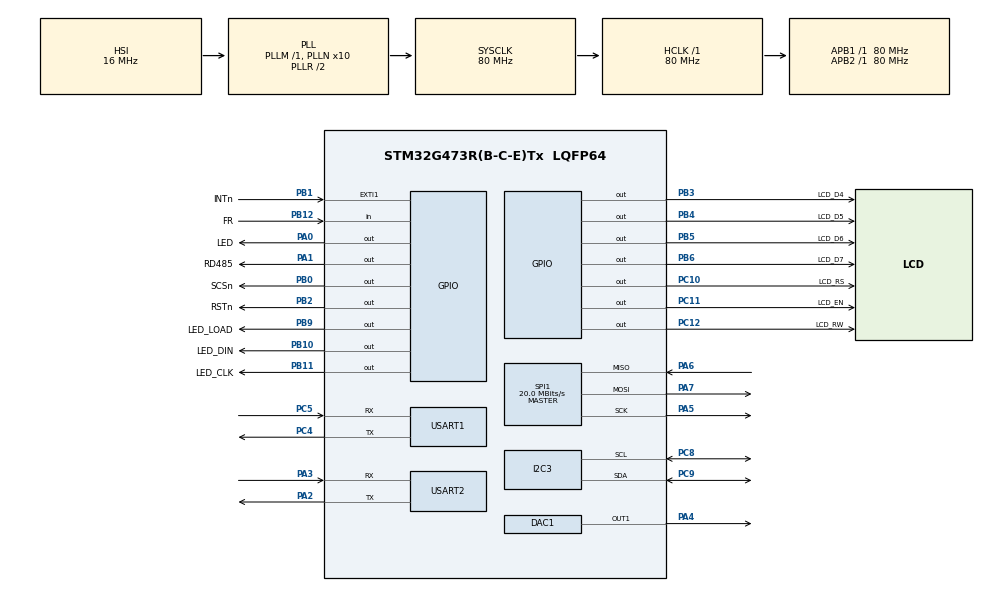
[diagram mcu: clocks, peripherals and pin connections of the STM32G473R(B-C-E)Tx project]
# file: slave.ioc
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Mcu.Family=STM32G4
PA6.Mode=Full_Duplex_Master
RCC.CortexFreq_Value=80000000
Dma.DAC1_CH1.0.Priority=DMA_PRIORITY_HIGH
SPI1.VirtualType=VM_MASTER
PC10.Signal=GPIO_Output
PC12.Signal=GPIO_Output
USART1.WordLength=WORDLENGTH_7B
PA0.GPIO_Label=LED
DAC1.DAC_Trigger_OUT1-DAC_OUT1=DAC_TRIGGER_T2_TRGO
PB0.GPIO_Label=SCSn
PB6.GPIO_Label=LCD_D7
PC5.Mode=Asynchronous
PB11.Signal=GPIO_Output
RCC.SYSCLKSource=RCC_SYSCLKSOURCE_PLLCLK
ProjectManager.StackSize=0x400
NVIC.EXTI1_IRQn=true\:0\:0\:false\:false\:true\:true\:true
TIM1.Prescaler=79
SPI1.CLKPolarity=SPI_POLARITY_HIGH
NVIC.TIM20_UP_IRQn=true\:0\:0\:false\:false\:true\:true\:true
Dma.DAC1_CH1.0.SyncPolarity=HAL_DMAMUX_SYNC_NO_EVENT
SPI1.Direction=SPI_DIRECTION_2LINES
PB1.GPIO_PuPd=GPIO_PULLUP
RCC.HCLKFreq_Value=80000000
Dma.DAC1_CH1.0.EventEnable=DISABLE
RCC.APB2TimFreq_Value=80000000
PB6.Signal=GPIO_Output
PB1.GPIO_ModeDefaultEXTI=GPIO_MODE_IT_FALLING
SPI1.CalculateBaudRate=20.0 MBits/s
RCC.AHBFreq_Value=80000000
RCC.HSE_VALUE=8000000
TIM20.AutoReloadPreload=TIM_AUTORELOAD_PRELOAD_ENABLE
PB2.Signal=GPIO_Output
Dma.DAC1_CH1.0.SignalID=NONE
USART2.VirtualMode-Asynchronous=VM_ASYNC
RCC.ADC12Freq_Value=80000000
PB12.GPIO_Label=FR
TIM2.PeriodNoDither=624
PA14.Mode=Serial_Wire
TIM3.Prescaler=80-1
PB1.GPIO_Label=INTn
Dma.DAC1_CH1.0.Mode=DMA_CIRCULAR
PC11.GPIO_Label=LCD_EN
SPI1.DataSize=SPI_DATASIZE_8BIT
PC9.Mode=I2C
VP_SYS_VS_DBSignals.Mode=DisableDeadBatterySignals
VP_TIM1_VS_ClockSourceINT.Mode=Internal
PA0.Signal=GPIO_Output
VP_TIM20_VS_ClockSourceINT.Mode=Internal
Mcu.Package=LQFP64
PB9.Signal=GPIO_Output
PB1.Signal=GPXTI1
PA6.Signal=SPI1_MISO
TIM3.PeriodNoDither=1000-1
Dma.DAC1_CH1.0.Instance=DMA1_Channel1
USART2.WordLength=WORDLENGTH_7B
TIM2.TIM_MasterOutputTrigger=TIM_TRGO_UPDATE
I2C3.Timing=0x10909CEC
PB5.GPIO_Label=LCD_D6
RCC.APB1TimFreq_Value=80000000
PC5.Signal=USART1_RX
NVIC.USART1_IRQn=true\:0\:0\:false\:false\:true\:true\:true
PF1-OSC_OUT.Mode=HSE-External-Oscillator
Dma.Request0=DAC1_CH1
SPI1.BaudRatePrescaler=SPI_BAUDRATEPRESCALER_4
VP_TIM3_VS_ClockSourceINT.Mode=Internal
Dma.DAC1_CH1.0.PeriphInc=DMA_PINC_DISABLE
PF1-OSC_OUT.Signal=RCC_OSC_OUT
PC4.Mode=Asynchronous
RCC.HSI48_VALUE=48000000
PB4.Signal=GPIO_Output
PA3.Signal=USART2_RX
PA5.Mode=Full_Duplex_Master
PB3.GPIO_Label=LCD_D4
PA7.Mode=Full_Duplex_Master
PB9.GPIO_Label=LED_LOAD
PC10.GPIO_Label=LCD_RS
TIM3.AutoReloadPreload=TIM_AUTORELOAD_PRELOAD_ENABLE
PC11.Signal=GPIO_Output
PC8.Signal=I2C3_SCL
PC4.Signal=USART1_TX
PB11.GPIO_Label=LED_CLK
RCC.EXTERNAL_CLOCK_VALUE=12288000
SPI1.CLKPhase=SPI_PHASE_2EDGE
USART1.VirtualMode-Asynchronous=VM_ASYNC
PA3.Mode=Asynchronous
PA13.Signal=SYS_JTMS-SWDIO
TIM1.AutoReloadPreload=TIM_AUTORELOAD_PRELOAD_ENABLE
ProjectManager.TargetToolchain=MDK-ARM V5
PB10.GPIO_Label=LED_DIN
SH.COMP_DAC11_group.0=DAC1_OUT1,DAC_OUT1
RCC.USBFreq_Value=80000000
RCC.LSE_VALUE=32768
PA1.Signal=GPIO_Output
PF0-OSC_IN.Mode=HSE-External-Oscillator
PB10.Signal=GPIO_Output
PA5.Signal=SPI1_SCK
Dma.DAC1_CH1.0.MemDataAlignment=DMA_MDATAALIGN_WORD
board=custom
RCC.VCOOutputFreq_Value=160000000
NVIC.TIM3_IRQn=true\:0\:0\:false\:false\:true\:true\:true
RCC.ADC345Freq_Value=80000000
RCC.APB2Freq_Value=80000000
SPI1.CRCCalculation=SPI_CRCCALCULATION_DISABLE
PB4.GPIO_Label=LCD_D5
SH.S_TIM1_CH2.0=TIM1_CH2
VP_TIM2_VS_ClockSourceINT.Mode=Internal
SPI1.Mode=SPI_MODE_MASTER
PA1.GPIO_Label=RD485
Dma.DAC1_CH1.0.PeriphDataAlignment=DMA_PDATAALIGN_WORD
Dma.DAC1_CH1.0.MemInc=DMA_MINC_ENABLE
PA13.Mode=Serial_Wire
Mcu.Name=STM32G473R(B-C-E)Tx
Dma.DAC1_CH1.0.SyncEnable=DISABLE
PA2.Signal=USART2_TX
PC8.Mode=I2C
PB3.Signal=GPIO_Output
PA4.Signal=COMP_DAC11_group
RCC.SYSCLKFreq_VALUE=80000000
TIM20.Prescaler=79
PB5.Signal=GPIO_Output
PC12.GPIO_Label=LCD_RW
PA14.Signal=SYS_JTCK-SWCLK
PB2.GPIO_Label=RSTn
ProjectManager.HeapSize=0x200
RCC.HSI_VALUE=16000000
NVIC.TIM1_UP_TIM16_IRQn=true\:0\:0\:false\:false\:true\:true\:true
NVIC.PriorityGroup=NVIC_PRIORITYGROUP_4
RCC.PLLN=10
PA2.Mode=Asynchronous
Dma.DAC1_CH1.0.SyncRequestNumber=1
PC9.Signal=I2C3_SDA
NVIC.DMA1_Channel1_IRQn=true\:0\:0\:false\:false\:true\:false\:true
PF0-OSC_IN.Signal=RCC_OSC_IN
Dma.DAC1_CH1.0.SyncSignalID=NONE
TIM3.TIM_MasterOutputTrigger=TIM_TRGO_RESET
PB12.GPIO_PuPd=GPIO_PULLUP
RCC.APB1Freq_Value=80000000
PB0.Signal=GPIO_Output
PC1.Signal=S_TIM1_CH2
Dma.DAC1_CH1.0.Direction=DMA_MEMORY_TO_PERIPH
PB12.Signal=GPIO_Input
Dma.DAC1_CH1.0.Polarity=HAL_DMAMUX_REQ_GEN_RISING
TIM1.PeriodNoDither=999
TIM20.PeriodNoDither=999
PA7.Signal=SPI1_MOSI
Dma.DAC1_CH1.0.RequestNumber=1

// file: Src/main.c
/* USER CODE BEGIN Header */
/**
  ******************************************************************************
  * @file           : main.c
  * @brief          : Main program body
  ******************************************************************************
  * @attention
  *
  * <h2><center>&copy; Copyright (c) 2020 STMicroelectronics.
  * All rights reserved.</center></h2>
  *
  * This software component is licensed by ST under BSD 3-Clause license,
  * the "License"; You may not use this file except in compliance with the
  * License. You may obtain a copy of the License at:
  *                        opensource.org/licenses/BSD-3-Clause
  *
  ******************************************************************************
  */
/* USER CODE END Header */
#include "main.h"

/* USER CODE BEGIN Includes */
#include "stdio.h"
#include "wizchip_conf.h"
#include "irigb.h"
#include "lcd.h"
#include "storevalue.h"
#include <string.h>
/* USER CODE END Includes */

/* USER CODE BEGIN PM */
uint32_t	_loop1=0;
#define NS  128
uint32_t Wave_LUT[NS] = {
    2048, 2149, 2250, 2350, 2450, 2549, 2646, 2742, 2837, 2929, 3020, 3108, 3193, 3275, 3355,
    3431, 3504, 3574, 3639, 3701, 3759, 3812, 3861, 3906, 3946, 3982, 4013, 4039, 4060, 4076,
    4087, 4094, 4095, 4091, 4082, 4069, 4050, 4026, 3998, 3965, 3927, 3884, 3837, 3786, 3730,
    3671, 3607, 3539, 3468, 3394, 3316, 3235, 3151, 3064, 2975, 2883, 2790, 2695, 2598, 2500,
    2400, 2300, 2199, 2098, 1997, 1896, 1795, 1695, 1595, 1497, 1400, 1305, 1212, 1120, 1031,
    944, 860, 779, 701, 627, 556, 488, 424, 365, 309, 258, 211, 168, 130, 97,
    69, 45, 26, 13, 4, 0, 1, 8, 19, 35, 56, 82, 113, 149, 189,
    234, 283, 336, 394, 456, 521, 591, 664, 740, 820, 902, 987, 1075, 1166, 1258,
    1353, 1449, 1546, 1645, 1745, 1845, 1946, 2047
};

/* USER CODE END PM */

DAC_HandleTypeDef hdac1;
DMA_HandleTypeDef hdma_dac1_ch1;

I2C_HandleTypeDef hi2c3;

SPI_HandleTypeDef hspi1;

TIM_HandleTypeDef htim1;
TIM_HandleTypeDef htim2;
TIM_HandleTypeDef htim3;
TIM_HandleTypeDef htim20;

UART_HandleTypeDef huart1;
UART_HandleTypeDef huart2;

/* USER CODE BEGIN PV */
uint8_t u1Timeout=0;
uint32_t tim20ct=0;
/* Size of Reception buffer */
#define RXBUFFERSIZE                      10
/* Buffer used for reception */
uint8_t aRxBuffer[RXBUFFERSIZE];

wiz_NetInfo gWIZNETINFO = { .mac = {0x01, 0x08, 0xDC,0x4F, 0xEB, 0x6E},
                            .ip = {192, 168, 22, 163},
                            .sn = {255,255,255,1},
                            .gw = {192, 168, 22, 252},
                            .dns = {8,8,8,8},
                            .dhcp = NETINFO_STATIC };
/* USER CODE END PV */

void SystemClock_Config(void);
static void MX_GPIO_Init(void);
static void MX_DMA_Init(void);
static void MX_DAC1_Init(void);
static void MX_SPI1_Init(void);
static void MX_TIM1_Init(void);
static void MX_USART1_UART_Init(void);
static void MX_USART2_UART_Init(void);
static void MX_TIM2_Init(void);
static void MX_I2C3_Init(void);
static void MX_TIM20_Init(void);
static void MX_TIM3_Init(void);
/* USER CODE BEGIN PFP */
static void  wizchip_select(void)
{
	//GPIO_ResetBits(W5500_CS_GPIO_PORT, W5500_CS_PIN);
	HAL_GPIO_WritePin(SCSn_GPIO_Port, SCSn_Pin, GPIO_PIN_RESET);
}
static void  wizchip_deselect(void)
{
	//GPIO_SetBits(W5500_CS_GPIO_PORT, W5500_CS_PIN);
	uint8_t temp=0xff;
	HAL_GPIO_WritePin(SCSn_GPIO_Port, SCSn_Pin, GPIO_PIN_SET);
	HAL_SPI_Transmit(&hspi1,&temp,1,100);
	//stm32_spi_rw(0xFF);
}
static uint8_t wizchip_read(void)
{
	uint8_t temp;
	//while (  SPI_I2S_GetFlagStatus(SPI2 , SPI_I2S_FLAG_TXE) == RESET );
	//SPI_I2S_SendData(SPI2 , 0xff);     // Dummy write to generate clock
	//while (  SPI_I2S_GetFlagStatus(SPI2 , SPI_I2S_FLAG_RXNE) == RESET );
	//return (unsigned char)SPI_I2S_ReceiveData(SPI2);

	HAL_SPI_Receive(&hspi1,&temp,1,100);
	return temp;
}
static void  wizchip_write(uint8_t wb)
{
	//while (  SPI_I2S_GetFlagStatus(SPI2 , SPI_I2S_FLAG_TXE) == RESET );  // sending data Wait
	//SPI_I2S_SendData(SPI2 , wb);
	//while (  SPI_I2S_GetFlagStatus(SPI2 , SPI_I2S_FLAG_RXNE) == RESET ); // Wait for data
	//wb = SPI_I2S_ReceiveData(SPI2);        // Dummy read to generate clock
	HAL_SPI_Transmit(&hspi1,&wb,1,100);
}
static void wizchip_readburst(uint8_t* pBuf, uint16_t len)
{
	//stm32_wizchip_dma_transfer(1, pBuf, len);  //FALSE(0) for buff->SPI, TRUE(1) for SPI->buff
	HAL_SPI_Receive(&hspi1,pBuf,len,100);
}

static void  wizchip_writeburst(uint8_t* pBuf, uint16_t len)
{
	//stm32_wizchip_dma_transfer(0, pBuf, len);  //FALSE(0) for buff->SPI, TRUE(1) for SPI->buff
	HAL_SPI_Transmit(&hspi1,pBuf,len,100);
}

void Display_Net_Conf()
{
	uint8_t tmpstr[6] = {0,};
	wiz_NetInfo gWIZNETINFO;

	ctlnetwork(CN_GET_NETINFO, (void*) &gWIZNETINFO);
	ctlwizchip(CW_GET_ID,(void*)tmpstr);

	// Display Network Information
	if(gWIZNETINFO.dhcp == NETINFO_DHCP) printf("\r\n===== %s NET CONF : DHCP =====\r\n",(char*)tmpstr);
		else printf("\r\n===== %s NET CONF : Static =====\r\n",(char*)tmpstr);

	printf("\r\nMAC: %02X:%02X:%02X:%02X:%02X:%02X\r\n", gWIZNETINFO.mac[0], gWIZNETINFO.mac[1], gWIZNETINFO.mac[2], gWIZNETINFO.mac[3], gWIZNETINFO.mac[4], gWIZNETINFO.mac[5]);
	printf("IP: %d.%d.%d.%d\r\n", gWIZNETINFO.ip[0], gWIZNETINFO.ip[1], gWIZNETINFO.ip[2], gWIZNETINFO.ip[3]);
	printf("GW: %d.%d.%d.%d\r\n", gWIZNETINFO.gw[0], gWIZNETINFO.gw[1], gWIZNETINFO.gw[2], gWIZNETINFO.gw[3]);
	printf("SN: %d.%d.%d.%d\r\n", gWIZNETINFO.sn[0], gWIZNETINFO.sn[1], gWIZNETINFO.sn[2], gWIZNETINFO.sn[3]);
	printf("DNS: %d.%d.%d.%d\r\n", gWIZNETINFO.dns[0], gWIZNETINFO.dns[1], gWIZNETINFO.dns[2], gWIZNETINFO.dns[3]);

	//printf("\r\n=== DNS Client Example ===============\r\n");
  //printf("> DNS 1st : %d.%d.%d.%d\r\n", gWIZNETINFO.dns[0], gWIZNETINFO.dns[1], gWIZNETINFO.dns[2], gWIZNETINFO.dns[3]);
  //printf("> DNS 2nd : %d.%d.%d.%d\r\n", DNS_2nd[0], DNS_2nd[1], DNS_2nd[2], DNS_2nd[3]);
  //printf("======================================\r\n");
   //printf("> Example Domain Name : %s\r\n", Domain_name);
}

void Net_Conf(wiz_NetInfo netinfo)
{
	/*
	wiz_NetInfo gWIZNETINFO = {
		{ 0x00, 0x08, 0xDC, 0x44, 0x55, 0x66 },				// Mac address
		{ 192, 168, 1, 91 },								// IP address
		{ 255, 255, 255, 0},								// Subnet mask
		{ 192, 168, 1, 1},									// Gateway
		{ 8, 8, 8, 8},										// DNS Server
	};
	*/
	ctlnetwork(CN_SET_NETINFO, (void*) &netinfo);

	Display_Net_Conf();
}
void w5500_lib_init(void){

		uint8_t tmp;
		intr_kind temp;
		uint8_t memsize[2][8] = {{2,2,2,2,2,2,2,2},{2,2,2,2,2,2,2,2}};

		//printf("w5500_lib_init...1");
		//GPIO_ResetBits(W5500_RST_GPIO, W5500_RST);
		HAL_GPIO_WritePin(RSTn_GPIO_Port, RSTn_Pin, GPIO_PIN_RESET);
		HAL_Delay(100);

		//////////
   // TODO //
   ////////////////////////////////////////////////////////////////////////////////////////////////////
   // First of all, Should register SPI callback functions implemented by user for accessing WIZCHIP //
   ////////////////////////////////////////////////////////////////////////////////////////////////////

		/* Critical section callback - No use in this example */
		//reg_wizchip_cris_cbfunc(0, 0);

    /* Chip selection call back */
		reg_wizchip_cs_cbfunc(wizchip_select, wizchip_deselect);
		/* SPI Read & Write callback function */
    reg_wizchip_spi_cbfunc(wizchip_read, wizchip_write);
		reg_wizchip_spiburst_cbfunc(wizchip_readburst, wizchip_writeburst);
		//GPIO_SetBits(W5500_RST_GPIO, W5500_RST);//RST High to run
		HAL_GPIO_WritePin(RSTn_GPIO_Port, RSTn_Pin, GPIO_PIN_SET);
		HAL_Delay(100);
		//printf("...2");
    ////////////////////////////////////////////////////////////////////////
		/* WIZCHIP SOCKET Buffer initialize */
		//Initializes to WIZCHIP with SOCKET buffer size 2 or 1 dimension array typed uint8_t
    if(ctlwizchip(CW_INIT_WIZCHIP,(void*)memsize) == -1)
    {
       printf("WIZCHIP Initialized fail.\r\n");
       //while(1);
    }

		//printf("...get PHY Link status");
		/* PHY link status check */

		do
    {
       if(ctlwizchip(CW_GET_PHYLINK, (void*)&tmp) == -1)
          ;//printf("Unknown PHY Link stauts.\r\n");
    }while(tmp == PHY_LINK_OFF);
		//printf("...4");
		//Cau hinh ngat tren S0
		temp = IK_SOCK_0;
		if(ctlwizchip(CW_SET_INTRMASK, &temp) == WZN_ERR)
		{
			printf("Cannot set imr...\r\n");
		}
		//printf("...all ok\r\n");
		Net_Conf(gWIZNETINFO);

}

//----------------------Phan giao tiep i2c-thoi gian thuc ---------------------//
unsigned char i2c_write[1];
char time[7],giaycu,ngay_al,thang_al,nhietdo,nhietdole;
unsigned char i2c_rv[19];
void BCD_Decoder()
{
	//printf("i2c_rv[3]: %d",i2c_rv[3]);
	for(char x=0;x<7;x++) time[x]=(i2c_rv[x] & 0x0f) + (i2c_rv[x]>>4)*10;
	//time[3] --;
}
unsigned char BCD_Encoder(unsigned char temp)
{
	return ((temp/10)<<4)|(temp%10);
}
void laythoigian()
{
	HAL_I2C_Mem_Read(&hi2c3,0x68<<1,0,I2C_MEMADD_SIZE_8BIT,i2c_rv,19,1000); //read time
	BCD_Decoder(); //chuyen doi
	nhietdo = i2c_rv[17];
	nhietdole = i2c_rv[18]>>6;
	if(nhietdole == 1) nhietdole = 25;
	else if(nhietdole == 2) nhietdole = 5;
	else if(nhietdole == 3) nhietdole = 75;
	else nhietdole = 0;
}
void ghids(unsigned char add, unsigned char dat)
{
	i2c_write[0] = BCD_Encoder(dat);
	HAL_I2C_Mem_Write(&hi2c3,0x68<<1,add,I2C_MEMADD_SIZE_8BIT,i2c_write,1,1000);
}

static uint32_t GetPage(uint32_t Address);
static uint32_t GetBank(uint32_t Address);
static void storeValue(void);
static void loadValue(void);

void MAX7219_SendByte (unsigned char dat)
{
unsigned char i;
for (i=0;i<8;i++)
{
if((dat&0x80)==0x80) HAL_GPIO_WritePin(LED_DIN_GPIO_Port, LED_DIN_Pin, GPIO_PIN_SET);//GPIO_SetBits(GPIOA, MAX7219_DIN);
else HAL_GPIO_WritePin(LED_DIN_GPIO_Port, LED_DIN_Pin, GPIO_PIN_RESET);//GPIO_ResetBits(GPIOA, MAX7219_DIN);

HAL_GPIO_WritePin(LED_CLK_GPIO_Port, LED_CLK_Pin, GPIO_PIN_RESET);//GPIO_ResetBits(GPIOA, MAX7219_CLK);
//HAL_Delay(1);
HAL_GPIO_WritePin(LED_CLK_GPIO_Port, LED_CLK_Pin, GPIO_PIN_SET);//GPIO_SetBits(GPIOA, MAX7219_CLK);
dat<<=1;
}
}

void MAX7219_SendAddrDat (unsigned char addr,unsigned char dat)
{
HAL_GPIO_WritePin(LED_LOAD_GPIO_Port, LED_LOAD_Pin, GPIO_PIN_RESET);//GPIO_ResetBits(GPIOA, MAX7219_CS);
MAX7219_SendByte (addr);
MAX7219_SendByte (dat);
HAL_GPIO_WritePin(LED_LOAD_GPIO_Port, LED_LOAD_Pin, GPIO_PIN_SET);//GPIO_SetBits(GPIOA, MAX7219_CS);
}

void MAX7219_Init (void)
{
MAX7219_SendAddrDat (0x0c,0x01); //normal operation
MAX7219_SendAddrDat (0x0a,0x01); //intensity
MAX7219_SendAddrDat (0x0b,0x07); //all digits on
MAX7219_SendAddrDat (0x09,0x00); //decoding
MAX7219_SendAddrDat (0x0f,0x00); //display test off
}
void MAX7219_Clear(void)
{
unsigned char i;
	for(i=8;i>0;i--)
	MAX7219_SendAddrDat(i,0x00);
}
unsigned char const LEDcode[]=
{
0x7e,0x30,0x6d,0x79,0x33,0x5b,0x5f,0x70,0x7f,0x7b, //0..9
0x77,0x1f,0x4e,0x3d,0x4f,0x47,0x67,0x3e,0xff //a..f,P,U,all_on
};
void MAX7219_DisplayInt (long int val)
{
long int a;
a=val;
	MAX7219_SendAddrDat(0x08,LEDcode[1]);
//MAX7219_SendAddrDat(0x08,LEDcode[(a/10000000)]);
a=a%10000000;
	MAX7219_SendAddrDat(0x07,0x03);
a=a%1000000;
MAX7219_SendAddrDat(0x06,LEDcode[9]);
a=a%100000;
MAX7219_SendAddrDat(0x05,LEDcode[8]);
a=a%10000;
MAX7219_SendAddrDat(0x04,LEDcode[(a/1000)]);
a=a%1000;
MAX7219_SendAddrDat(0x03,LEDcode[(a/100)]);
a=a%100;
MAX7219_SendAddrDat(0x02,LEDcode[(a/10)]);
a=a%10;
MAX7219_SendAddrDat(0x01,LEDcode[a]);
}
/* USER CODE END PFP */

int main(void)
{
  /* USER CODE BEGIN 1 */
uint8_t u2data[100];
int a=0;
  /* USER CODE END 1 */

  /* MCU Configuration--------------------------------------------------------*/

  /* Reset of all peripherals, Initializes the Flash interface and the Systick. */
  HAL_Init();

  /* Configure the system clock */
  SystemClock_Config();

  /* Initialize all configured peripherals */
  MX_GPIO_Init();
  MX_DMA_Init();
  MX_DAC1_Init();
  MX_SPI1_Init();
  MX_TIM1_Init();
  MX_USART1_UART_Init();
  MX_USART2_UART_Init();
  MX_TIM2_Init();
  MX_I2C3_Init();
  MX_TIM20_Init();
  MX_TIM3_Init();
  /* USER CODE BEGIN 2 */
	/*
	laythoigian();
	ghids(0,0);
	ghids(1,41);
	ghids(2,10);
	ghids(3,6);
	ghids(4,15);
	ghids(5,10);
	ghids(6,21);*/

	LCD_Init();
	LCD_Clear();
	LCD_Gotoxy(0,0);
	LCD_Puts("Nguon ok! Dong ho Ok!");
	LCD_Gotoxy(1,0);
	LCD_Puts("GPS: ok.");
	lcdprintf("IP: %s","192.168.22.153");
	HAL_GPIO_WritePin(GPIOA, LED_Pin, GPIO_PIN_SET);
	HAL_GPIO_WritePin(RD485_GPIO_Port, RD485_Pin, GPIO_PIN_SET);
	HAL_Delay(100);
	//115200 7b 1s n
	printf("This code gen by STMcube STM32G473RBT 80MHz\r\n");
	//HAL_UART_Transmit(&huart1, (uint8_t *)&ch, 1, 100);
	HAL_UART_Transmit(&huart2, (uint8_t *)"UART2 TX ok\r\n", 13, 100);

	//w5500_lib_init();
	HAL_DAC_Start(&hdac1, DAC_CHANNEL_1);
	HAL_DAC_Start_DMA(&hdac1, DAC_CHANNEL_1, (uint32_t*)_Bit0, 1280, DAC_ALIGN_12B_R);
	//hdma_dac1_ch1.Instance->CMAR = (uint32_t)_Bit0;
  HAL_TIM_Base_Start(&htim2);
	HAL_TIM_Base_Start_IT(&htim3);

	//HAL_DAC_Start(&hdac1, DAC_CHANNEL_1);
	//HAL_DAC_SetValue(&hdac1, DAC_CHANNEL_1,DAC_ALIGN_12B_R,4000);
	printf("Run\r\n");
	MAX7219_Init();
	//MAX7219_DisplayInt(1234567);

	MAX7219_SendAddrDat(0x01,LEDcode[0]);
	MAX7219_SendAddrDat(0x02,LEDcode[1]);
	MAX7219_SendAddrDat(0x03,LEDcode[2]);
	MAX7219_SendAddrDat(0x04,LEDcode[3]);
	MAX7219_SendAddrDat(0x05,LEDcode[4]);
	MAX7219_SendAddrDat(0x06,0x06);
	MAX7219_SendAddrDat(0x07,0x05);
	MAX7219_SendAddrDat(0x08,0x00);

	//storeValue();
	//loadValue();

	HAL_GPIO_WritePin(RD485_GPIO_Port, RD485_Pin, GPIO_PIN_RESET);
	//MX_IWDG_Init();
  /* USER CODE END 2 */

  /* Infinite loop */
  /* USER CODE BEGIN WHILE */
	  /*##-2- Put UART peripheral in reception process ###########################*/
  /* Any data received will be stored in "aRxBuffer" buffer : the number max of
     data received is 10
		 Du lieu nhan dc se tu dong luu vao aRxBuffer
		 */
  if (HAL_UART_Receive_IT(&huart1, (uint8_t *)aRxBuffer, RXBUFFERSIZE) != HAL_OK)
  {
    /* Transfer error in reception process */
    Error_Handler();
  }

	//htim20.Instance->CNT =0;
  while (1)
  {
    //HAL_IWDG_Refresh(&hiwdg);
		//HAL_UART_Receive(&huart2, u2data,20,100);
		//printf("u2data:%s\r\n",u2data);
		//HAL_Delay(100);
		//HAL_GPIO_WritePin(GPIOA, GPIO_PIN_0, 0);
		//HAL_DAC_SetValue(&hdac1, DAC_CHANNEL_1,DAC_ALIGN_12B_R,4000);
    //HAL_Delay(500);
    //HAL_GPIO_WritePin(GPIOA, GPIO_PIN_0, 1);
		//HAL_DAC_SetValue(&hdac1, DAC_CHANNEL_1,DAC_ALIGN_12B_R,400);
    //HAL_Delay(450);

		//tim20ct= __HAL_TIM_GET_COUNTER(&htim3);

		//printf("tim20ct:%d\r\n",tim20ct);

		if(tim20ct > 1000) {
			tim20ct = 0;
			HAL_GPIO_WritePin(GPIOA, GPIO_PIN_0, 0);
			laythoigian();
			//printf("Time :%d %d %d %d %d %d %d, %d,%d\r\n",time[0],time[1],time[2],time[3],time[4],time[5],time[6],nhietdo,nhietdole);

			LCD_Gotoxy(0,0);

			if(time[3] == 6) LCD_Puts("Fri ");
			else	if(time[3] == 5) LCD_Puts("Thu ");
			else	if(time[3] == 4) LCD_Puts("Wed ");
			else	if(time[3] == 3) LCD_Puts("Tue ");
			else	if(time[3] == 2) LCD_Puts("Mon ");
			else	if(time[3] == 7) LCD_Puts("Sat ");
			else	if(time[3] == 1) LCD_Puts("Sun ");
			else LCD_Puts("??? ");

			lcdprintf("%2d/%2d/20%2d %2d:%2d:%2d",time[4],time[5],time[6],time[2],time[1],time[0]);

			//printf("1s\r\n");
			//HAL_Delay(50);

			MAX7219_SendAddrDat(0x06,a++);
			MAX7219_SendAddrDat(0x07,a++);
			HAL_GPIO_WritePin(GPIOA, GPIO_PIN_0, 1);
			//HAL_Delay(50);
		}
		if(u1Timeout == 1)
			{
				u1Timeout = 0;
				printf("aRxBuffer %s; \r\n",aRxBuffer);
				huart1.pRxBuffPtr = (uint8_t *)aRxBuffer;
				huart1.RxXferCount = RXBUFFERSIZE;
				memset(aRxBuffer,0,RXBUFFERSIZE);
			}
    /* USER CODE END WHILE */

  }
}

void SystemClock_Config(void)
{
  RCC_OscInitTypeDef RCC_OscInitStruct = {0};
  RCC_ClkInitTypeDef RCC_ClkInitStruct = {0};
  RCC_PeriphCLKInitTypeDef PeriphClkInit = {0};

  /** Configure the main internal regulator output voltage
  */
  HAL_PWREx_ControlVoltageScaling(PWR_REGULATOR_VOLTAGE_SCALE1);
  /** Initializes the RCC Oscillators according to the specified parameters
  * in the RCC_OscInitTypeDef structure.
  */
  RCC_OscInitStruct.OscillatorType = RCC_OSCILLATORTYPE_HSI;
  RCC_OscInitStruct.HSIState = RCC_HSI_ON;
  RCC_OscInitStruct.HSICalibrationValue = RCC_HSICALIBRATION_DEFAULT;
  RCC_OscInitStruct.PLL.PLLState = RCC_PLL_ON;
  RCC_OscInitStruct.PLL.PLLSource = RCC_PLLSOURCE_HSI;
  RCC_OscInitStruct.PLL.PLLM = RCC_PLLM_DIV1;
  RCC_OscInitStruct.PLL.PLLN = 10;
  RCC_OscInitStruct.PLL.PLLP = RCC_PLLP_DIV2;
  RCC_OscInitStruct.PLL.PLLQ = RCC_PLLQ_DIV2;
  RCC_OscInitStruct.PLL.PLLR = RCC_PLLR_DIV2;
  if (HAL_RCC_OscConfig(&RCC_OscInitStruct) != HAL_OK)
  {
    Error_Handler();
  }
  /** Initializes the CPU, AHB and APB buses clocks
  */
  RCC_ClkInitStruct.ClockType = RCC_CLOCKTYPE_HCLK|RCC_CLOCKTYPE_SYSCLK
                              |RCC_CLOCKTYPE_PCLK1|RCC_CLOCKTYPE_PCLK2;
  RCC_ClkInitStruct.SYSCLKSource = RCC_SYSCLKSOURCE_PLLCLK;
  RCC_ClkInitStruct.AHBCLKDivider = RCC_SYSCLK_DIV1;
  RCC_ClkInitStruct.APB1CLKDivider = RCC_HCLK_DIV1;
  RCC_ClkInitStruct.APB2CLKDivider = RCC_HCLK_DIV1;

  if (HAL_RCC_ClockConfig(&RCC_ClkInitStruct, FLASH_LATENCY_2) != HAL_OK)
  {
    Error_Handler();
  }
  /** Initializes the peripherals clocks
  */
  PeriphClkInit.PeriphClockSelection = RCC_PERIPHCLK_USART1|RCC_PERIPHCLK_USART2
                              |RCC_PERIPHCLK_I2C3;
  PeriphClkInit.Usart1ClockSelection = RCC_USART1CLKSOURCE_PCLK2;
  PeriphClkInit.Usart2ClockSelection = RCC_USART2CLKSOURCE_PCLK1;
  PeriphClkInit.I2c3ClockSelection = RCC_I2C3CLKSOURCE_PCLK1;
  if (HAL_RCCEx_PeriphCLKConfig(&PeriphClkInit) != HAL_OK)
  {
    Error_Handler();
  }
}

static void MX_DAC1_Init(void)
{

  DAC_ChannelConfTypeDef sConfig = {0};

  /** DAC Initialization
  */
  hdac1.Instance = DAC1;
  if (HAL_DAC_Init(&hdac1) != HAL_OK)
  {
    Error_Handler();
  }
  /** DAC channel OUT1 config
  */
  sConfig.DAC_HighFrequency = DAC_HIGH_FREQUENCY_INTERFACE_MODE_AUTOMATIC;
  sConfig.DAC_DMADoubleDataMode = DISABLE;
  sConfig.DAC_SignedFormat = DISABLE;
  sConfig.DAC_SampleAndHold = DAC_SAMPLEANDHOLD_DISABLE;
  sConfig.DAC_Trigger = DAC_TRIGGER_T2_TRGO;
  sConfig.DAC_Trigger2 = DAC_TRIGGER_NONE;
  sConfig.DAC_OutputBuffer = DAC_OUTPUTBUFFER_ENABLE;
  sConfig.DAC_ConnectOnChipPeripheral = DAC_CHIPCONNECT_EXTERNAL;
  sConfig.DAC_UserTrimming = DAC_TRIMMING_FACTORY;
  if (HAL_DAC_ConfigChannel(&hdac1, &sConfig, DAC_CHANNEL_1) != HAL_OK)
  {
    Error_Handler();
  }

}

static void MX_I2C3_Init(void)
{

  hi2c3.Instance = I2C3;
  hi2c3.Init.Timing = 0x10909CEC;
  hi2c3.Init.OwnAddress1 = 0;
  hi2c3.Init.AddressingMode = I2C_ADDRESSINGMODE_7BIT;
  hi2c3.Init.DualAddressMode = I2C_DUALADDRESS_DISABLE;
  hi2c3.Init.OwnAddress2 = 0;
  hi2c3.Init.OwnAddress2Masks = I2C_OA2_NOMASK;
  hi2c3.Init.GeneralCallMode = I2C_GENERALCALL_DISABLE;
  hi2c3.Init.NoStretchMode = I2C_NOSTRETCH_DISABLE;
  if (HAL_I2C_Init(&hi2c3) != HAL_OK)
  {
    Error_Handler();
  }
  /** Configure Analogue filter
  */
  if (HAL_I2CEx_ConfigAnalogFilter(&hi2c3, I2C_ANALOGFILTER_ENABLE) != HAL_OK)
  {
    Error_Handler();
  }
  /** Configure Digital filter
  */
  if (HAL_I2CEx_ConfigDigitalFilter(&hi2c3, 0) != HAL_OK)
  {
    Error_Handler();
  }

}

static void MX_SPI1_Init(void)
{

  /* SPI1 parameter configuration*/
  hspi1.Instance = SPI1;
  hspi1.Init.Mode = SPI_MODE_MASTER;
  hspi1.Init.Direction = SPI_DIRECTION_2LINES;
  hspi1.Init.DataSize = SPI_DATASIZE_8BIT;
  hspi1.Init.CLKPolarity = SPI_POLARITY_HIGH;
  hspi1.Init.CLKPhase = SPI_PHASE_2EDGE;
  hspi1.Init.NSS = SPI_NSS_SOFT;
  hspi1.Init.BaudRatePrescaler = SPI_BAUDRATEPRESCALER_4;
  hspi1.Init.FirstBit = SPI_FIRSTBIT_MSB;
  hspi1.Init.TIMode = SPI_TIMODE_DISABLE;
  hspi1.Init.CRCCalculation = SPI_CRCCALCULATION_DISABLE;
  hspi1.Init.CRCPolynomial = 7;
  hspi1.Init.CRCLength = SPI_CRC_LENGTH_DATASIZE;
  hspi1.Init.NSSPMode = SPI_NSS_PULSE_DISABLE;
  if (HAL_SPI_Init(&hspi1) != HAL_OK)
  {
    Error_Handler();
  }

}

static void MX_TIM1_Init(void)
{

  TIM_ClockConfigTypeDef sClockSourceConfig = {0};
  TIM_MasterConfigTypeDef sMasterConfig = {0};
  TIM_BreakDeadTimeConfigTypeDef sBreakDeadTimeConfig = {0};

  htim1.Instance = TIM1;
  htim1.Init.Prescaler = 79;
  htim1.Init.CounterMode = TIM_COUNTERMODE_UP;
  htim1.Init.Period = 999;
  htim1.Init.ClockDivision = TIM_CLOCKDIVISION_DIV1;
  htim1.Init.RepetitionCounter = 0;
  htim1.Init.AutoReloadPreload = TIM_AUTORELOAD_PRELOAD_ENABLE;
  if (HAL_TIM_Base_Init(&htim1) != HAL_OK)
  {
    Error_Handler();
  }
  sClockSourceConfig.ClockSource = TIM_CLOCKSOURCE_INTERNAL;
  if (HAL_TIM_ConfigClockSource(&htim1, &sClockSourceConfig) != HAL_OK)
  {
    Error_Handler();
  }
  sMasterConfig.MasterOutputTrigger = TIM_TRGO_RESET;
  sMasterConfig.MasterOutputTrigger2 = TIM_TRGO2_RESET;
  sMasterConfig.MasterSlaveMode = TIM_MASTERSLAVEMODE_DISABLE;
  if (HAL_TIMEx_MasterConfigSynchronization(&htim1, &sMasterConfig) != HAL_OK)
  {
    Error_Handler();
  }
  sBreakDeadTimeConfig.BreakAFMode = TIM_BREAK_AFMODE_INPUT;
  sBreakDeadTimeConfig.Break2AFMode = TIM_BREAK_AFMODE_INPUT;
  if (HAL_TIMEx_ConfigBreakDeadTime(&htim1, &sBreakDeadTimeConfig) != HAL_OK)
  {
    Error_Handler();
  }

}

static void MX_TIM2_Init(void)
{

  TIM_ClockConfigTypeDef sClockSourceConfig = {0};
  TIM_MasterConfigTypeDef sMasterConfig = {0};

  htim2.Instance = TIM2;
  htim2.Init.Prescaler = 0;
  htim2.Init.CounterMode = TIM_COUNTERMODE_UP;
  htim2.Init.Period = 624;
  htim2.Init.ClockDivision = TIM_CLOCKDIVISION_DIV1;
  htim2.Init.AutoReloadPreload = TIM_AUTORELOAD_PRELOAD_DISABLE;
  if (HAL_TIM_Base_Init(&htim2) != HAL_OK)
  {
    Error_Handler();
  }
  sClockSourceConfig.ClockSource = TIM_CLOCKSOURCE_INTERNAL;
  if (HAL_TIM_ConfigClockSource(&htim2, &sClockSourceConfig) != HAL_OK)
  {
    Error_Handler();
  }
  sMasterConfig.MasterOutputTrigger = TIM_TRGO_UPDATE;
  sMasterConfig.MasterSlaveMode = TIM_MASTERSLAVEMODE_DISABLE;
  if (HAL_TIMEx_MasterConfigSynchronization(&htim2, &sMasterConfig) != HAL_OK)
  {
    Error_Handler();
  }

}

static void MX_TIM3_Init(void)
{

  TIM_ClockConfigTypeDef sClockSourceConfig = {0};
  TIM_MasterConfigTypeDef sMasterConfig = {0};

  htim3.Instance = TIM3;
  htim3.Init.Prescaler = 80-1;
  htim3.Init.CounterMode = TIM_COUNTERMODE_UP;
  htim3.Init.Period = 999;
  htim3.Init.ClockDivision = TIM_CLOCKDIVISION_DIV1;
  htim3.Init.AutoReloadPreload = TIM_AUTORELOAD_PRELOAD_ENABLE;
  if (HAL_TIM_Base_Init(&htim3) != HAL_OK)
  {
    Error_Handler();
  }
  sClockSourceConfig.ClockSource = TIM_CLOCKSOURCE_INTERNAL;
  if (HAL_TIM_ConfigClockSource(&htim3, &sClockSourceConfig) != HAL_OK)
  {
    Error_Handler();
  }
  sMasterConfig.MasterOutputTrigger = TIM_TRGO_RESET;
  sMasterConfig.MasterSlaveMode = TIM_MASTERSLAVEMODE_DISABLE;
  if (HAL_TIMEx_MasterConfigSynchronization(&htim3, &sMasterConfig) != HAL_OK)
  {
    Error_Handler();
  }

}

static void MX_TIM20_Init(void)
{

  TIM_ClockConfigTypeDef sClockSourceConfig = {0};
  TIM_MasterConfigTypeDef sMasterConfig = {0};
  TIM_BreakDeadTimeConfigTypeDef sBreakDeadTimeConfig = {0};

  htim20.Instance = TIM20;
  htim20.Init.Prescaler = 79;
  htim20.Init.CounterMode = TIM_COUNTERMODE_UP;
  htim20.Init.Period = 999;
  htim20.Init.ClockDivision = TIM_CLOCKDIVISION_DIV1;
  htim20.Init.RepetitionCounter = 0;
  htim20.Init.AutoReloadPreload = TIM_AUTORELOAD_PRELOAD_ENABLE;
  if (HAL_TIM_Base_Init(&htim20) != HAL_OK)
  {
    Error_Handler();
  }
  sClockSourceConfig.ClockSource = TIM_CLOCKSOURCE_INTERNAL;
  if (HAL_TIM_ConfigClockSource(&htim20, &sClockSourceConfig) != HAL_OK)
  {
    Error_Handler();
  }
  sMasterConfig.MasterOutputTrigger = TIM_TRGO_RESET;
  sMasterConfig.MasterOutputTrigger2 = TIM_TRGO2_RESET;
  sMasterConfig.MasterSlaveMode = TIM_MASTERSLAVEMODE_DISABLE;
  if (HAL_TIMEx_MasterConfigSynchronization(&htim20, &sMasterConfig) != HAL_OK)
  {
    Error_Handler();
  }
  sBreakDeadTimeConfig.BreakAFMode = TIM_BREAK_AFMODE_INPUT;
  sBreakDeadTimeConfig.Break2AFMode = TIM_BREAK_AFMODE_INPUT;
  if (HAL_TIMEx_ConfigBreakDeadTime(&htim20, &sBreakDeadTimeConfig) != HAL_OK)
  {
    Error_Handler();
  }

}

static void MX_USART1_UART_Init(void)
{

  huart1.Instance = USART1;
  huart1.Init.BaudRate = 115200;
  huart1.Init.WordLength = UART_WORDLENGTH_7B;
  huart1.Init.StopBits = UART_STOPBITS_1;
  huart1.Init.Parity = UART_PARITY_NONE;
  huart1.Init.Mode = UART_MODE_TX_RX;
  huart1.Init.HwFlowCtl = UART_HWCONTROL_NONE;
  huart1.Init.OverSampling = UART_OVERSAMPLING_16;
  huart1.Init.OneBitSampling = UART_ONE_BIT_SAMPLE_DISABLE;
  huart1.Init.ClockPrescaler = UART_PRESCALER_DIV1;
  huart1.AdvancedInit.AdvFeatureInit = UART_ADVFEATURE_NO_INIT;
  if (HAL_UART_Init(&huart1) != HAL_OK)
  {
    Error_Handler();
  }
  if (HAL_UARTEx_SetTxFifoThreshold(&huart1, UART_TXFIFO_THRESHOLD_1_8) != HAL_OK)
  {
    Error_Handler();
  }
  if (HAL_UARTEx_SetRxFifoThreshold(&huart1, UART_RXFIFO_THRESHOLD_1_8) != HAL_OK)
  {
    Error_Handler();
  }
  if (HAL_UARTEx_DisableFifoMode(&huart1) != HAL_OK)
  {
    Error_Handler();
  }

}

static void MX_USART2_UART_Init(void)
{

  huart2.Instance = USART2;
  huart2.Init.BaudRate = 115200;
  huart2.Init.WordLength = UART_WORDLENGTH_7B;
  huart2.Init.StopBits = UART_STOPBITS_1;
  huart2.Init.Parity = UART_PARITY_NONE;
  huart2.Init.Mode = UART_MODE_TX_RX;
  huart2.Init.HwFlowCtl = UART_HWCONTROL_NONE;
  huart2.Init.OverSampling = UART_OVERSAMPLING_16;
  huart2.Init.OneBitSampling = UART_ONE_BIT_SAMPLE_DISABLE;
  huart2.Init.ClockPrescaler = UART_PRESCALER_DIV1;
  huart2.AdvancedInit.AdvFeatureInit = UART_ADVFEATURE_NO_INIT;
  if (HAL_UART_Init(&huart2) != HAL_OK)
  {
    Error_Handler();
  }
  if (HAL_UARTEx_SetTxFifoThreshold(&huart2, UART_TXFIFO_THRESHOLD_1_8) != HAL_OK)
  {
    Error_Handler();
  }
  if (HAL_UARTEx_SetRxFifoThreshold(&huart2, UART_RXFIFO_THRESHOLD_1_8) != HAL_OK)
  {
    Error_Handler();
  }
  if (HAL_UARTEx_DisableFifoMode(&huart2) != HAL_OK)
  {
    Error_Handler();
  }

}

static void MX_DMA_Init(void)
{

  /* DMA controller clock enable */
  __HAL_RCC_DMAMUX1_CLK_ENABLE();
  __HAL_RCC_DMA1_CLK_ENABLE();

  /* DMA interrupt init */
  /* DMA1_Channel1_IRQn interrupt configuration */
  HAL_NVIC_SetPriority(DMA1_Channel1_IRQn, 0, 0);
  HAL_NVIC_EnableIRQ(DMA1_Channel1_IRQn);

}

static void MX_GPIO_Init(void)
{
  GPIO_InitTypeDef GPIO_InitStruct = {0};

  /* GPIO Ports Clock Enable */
  __HAL_RCC_GPIOF_CLK_ENABLE();
  __HAL_RCC_GPIOC_CLK_ENABLE();
  __HAL_RCC_GPIOA_CLK_ENABLE();
  __HAL_RCC_GPIOB_CLK_ENABLE();

  /*Configure GPIO pin Output Level */
  HAL_GPIO_WritePin(GPIOA, LED_Pin|RD485_Pin, GPIO_PIN_RESET);

  /*Configure GPIO pin Output Level */
  HAL_GPIO_WritePin(GPIOB, SCSn_Pin|RSTn_Pin|LED_DIN_Pin|LED_CLK_Pin
                          |LCD_D4_Pin|LCD_D5_Pin|LCD_D6_Pin|LCD_D7_Pin
                          |LED_LOAD_Pin, GPIO_PIN_RESET);

  /*Configure GPIO pin Output Level */
  HAL_GPIO_WritePin(GPIOC, LCD_RS_Pin|LCD_EN_Pin|LCD_RW_Pin, GPIO_PIN_RESET);

  /*Configure GPIO pins : LED_Pin RD485_Pin */
  GPIO_InitStruct.Pin = LED_Pin|RD485_Pin;
  GPIO_InitStruct.Mode = GPIO_MODE_OUTPUT_PP;
  GPIO_InitStruct.Pull = GPIO_NOPULL;
  GPIO_InitStruct.Speed = GPIO_SPEED_FREQ_LOW;
  HAL_GPIO_Init(GPIOA, &GPIO_InitStruct);

  /*Configure GPIO pins : SCSn_Pin RSTn_Pin LED_DIN_Pin LED_CLK_Pin
                           LCD_D4_Pin LCD_D5_Pin LCD_D6_Pin LCD_D7_Pin
                           LED_LOAD_Pin */
  GPIO_InitStruct.Pin = SCSn_Pin|RSTn_Pin|LED_DIN_Pin|LED_CLK_Pin
                          |LCD_D4_Pin|LCD_D5_Pin|LCD_D6_Pin|LCD_D7_Pin
                          |LED_LOAD_Pin;
  GPIO_InitStruct.Mode = GPIO_MODE_OUTPUT_PP;
  GPIO_InitStruct.Pull = GPIO_NOPULL;
  GPIO_InitStruct.Speed = GPIO_SPEED_FREQ_LOW;
  HAL_GPIO_Init(GPIOB, &GPIO_InitStruct);

  /*Configure GPIO pin : INTn_Pin */
  GPIO_InitStruct.Pin = INTn_Pin;
  GPIO_InitStruct.Mode = GPIO_MODE_IT_FALLING;
  GPIO_InitStruct.Pull = GPIO_PULLUP;
  HAL_GPIO_Init(INTn_GPIO_Port, &GPIO_InitStruct);

  /*Configure GPIO pin : FR_Pin */
  GPIO_InitStruct.Pin = FR_Pin;
  GPIO_InitStruct.Mode = GPIO_MODE_INPUT;
  GPIO_InitStruct.Pull = GPIO_PULLUP;
  HAL_GPIO_Init(FR_GPIO_Port, &GPIO_InitStruct);

  /*Configure GPIO pins : LCD_RS_Pin LCD_EN_Pin LCD_RW_Pin */
  GPIO_InitStruct.Pin = LCD_RS_Pin|LCD_EN_Pin|LCD_RW_Pin;
  GPIO_InitStruct.Mode = GPIO_MODE_OUTPUT_PP;
  GPIO_InitStruct.Pull = GPIO_NOPULL;
  GPIO_InitStruct.Speed = GPIO_SPEED_FREQ_LOW;
  HAL_GPIO_Init(GPIOC, &GPIO_InitStruct);

  /* EXTI interrupt init*/
  HAL_NVIC_SetPriority(EXTI1_IRQn, 0, 0);
  HAL_NVIC_EnableIRQ(EXTI1_IRQn);

}

/* USER CODE BEGIN 4 */

#ifdef __GNUC__
  /* With GCC/RAISONANCE, small printf (option LD Linker->Libraries->Small printf
     set to 'Yes') calls __io_putchar() */
  #define PUTCHAR_PROTOTYPE int __io_putchar(int ch)
#else
  #define PUTCHAR_PROTOTYPE int fputc(int ch, FILE *f)
#endif /* __GNUC__ */

/**
  * @brief  Retargets the C library printf function to the USART.
  * @param  None
  * @retval None
  */
PUTCHAR_PROTOTYPE
{
	/* Place your implementation of fputc here */
	/* e.g. write a character to the USART */
	HAL_UART_Transmit(&huart1, (uint8_t *)&ch, 1, 100);
	//start loop1
	//_loop1 = _loop1_run;
	return ch;
}

/**
  * @brief  Rx Transfer completed callback
  * @param  UartHandle: UART handle
  * @note   This example shows a simple way to report end of IT Rx transfer, and
  *         you can add your own implementation.
  * @retval None
  */
void HAL_UART_RxCpltCallback(UART_HandleTypeDef *UartHandle)
{
  if (UartHandle->Instance == USART1)
		{

		}
		//printf("aRxBuffer %s; \r\n",aRxBuffer);
		//HAL_Delay(1000);
}

void HAL_DAC_ConvCpltCallbackCh1(DAC_HandleTypeDef *hdac)
{

	if(_loop1 == 0)
		{
			_loop1 = 1;
			//HAL_DAC_Start_DMA(&hdac1, DAC_CHANNEL_1, (uint32_t*)_Bit0, 1280, DAC_ALIGN_12B_R);
			hdma_dac1_ch1.Instance->CMAR = (uint32_t)_Bit0;
		}
	else
		{
			//HAL_DAC_Start_DMA(&hdac1, DAC_CHANNEL_1, (uint32_t*)_BitREF, 1280, DAC_ALIGN_12B_R);
			hdma_dac1_ch1.Instance->CMAR = (uint32_t)_BitREF;
			_loop1 = 0;
		}
};
//void HAL_DMA_RegisterCallback
static void loadValue(void)
{
	__IO uint32_t MemoryProgramStatus = 0;
	__IO uint32_t data32 = 0;
	uint32_t Address = 0;
	/* Check if the programmed data is OK
      MemoryProgramStatus = 0: data programmed correctly
      MemoryProgramStatus != 0: number of words not programmed correctly ******/

  MemoryProgramStatus = 0x0;

    data32 = *(__IO uint32_t *)FLASH_USER_START_ADDR;

    if (data32 != DATA_32)
    {
      MemoryProgramStatus++;
    }

	/*Check if there is an issue to program data*/
  if (MemoryProgramStatus == 0)
  {
    /* No error detected. Switch on LED1*/
    //BSP_LED_On(LED1);
		printf("Memory is ok\r\n");
  }
  else
  {
    /* Error detected. Switch on LED3*/
    //BSP_LED_On(LED3);
		printf("Error detected \r\n");
		return;
  }

	data32 = *(__IO uint32_t *)(FLASH_USER_START_ADDR+4);
	//printf("first data32 %x\r\n",data32);

	gWIZNETINFO.ip[3] = (uint8_t)data32;
	gWIZNETINFO.ip[2] = (uint8_t)(data32>>8);
	gWIZNETINFO.ip[1] = (uint8_t)(data32>>16);
	gWIZNETINFO.ip[0] = (uint8_t)(data32>>24);
	printf("Load IP: %d.%d.%d.%d\r\n",gWIZNETINFO.ip[0],gWIZNETINFO.ip[1],gWIZNETINFO.ip[2],gWIZNETINFO.ip[3]);

	data32 = *(__IO uint32_t *)(FLASH_USER_START_ADDR+8);
	printf("last data32 %x\r\n",data32);
		data32 = *(__IO uint32_t *)(FLASH_USER_START_ADDR+12);
	printf("first data32 %x\r\n",data32);
	data32 = *(__IO uint32_t *)(FLASH_USER_START_ADDR+16);
	printf("last data32 %x\r\n",data32);
		data32 = *(__IO uint32_t *)(FLASH_USER_START_ADDR+20);
	printf("first data32 %x\r\n",data32);
}
static void storeValue(void)
{
	uint32_t FirstPage = 0, NbOfPages = 0, BankNumber = 0,PageError = 0;
	static FLASH_EraseInitTypeDef EraseInitStruct;
	uint64_t temp;
	/* Unlock the Flash to enable the flash control register access *************/
  HAL_FLASH_Unlock();
	/* Clear OPTVERR bit set on virgin samples */
  __HAL_FLASH_CLEAR_FLAG(FLASH_FLAG_OPTVERR);
	/* Erase the user Flash area
    (area defined by FLASH_USER_START_ADDR and FLASH_USER_END_ADDR) ***********/

  /* Get the 1st page to erase */
  FirstPage = GetPage(FLASH_USER_START_ADDR);

  /* Get the number of pages to erase from 1st page */
  NbOfPages = GetPage(FLASH_USER_END_ADDR) - FirstPage + 1;

  /* Get the bank */
  BankNumber = GetBank(FLASH_USER_START_ADDR);

  /* Fill EraseInit structure*/
  EraseInitStruct.TypeErase   = FLASH_TYPEERASE_PAGES;
  EraseInitStruct.Banks       = BankNumber;
  EraseInitStruct.Page        = FirstPage;
  EraseInitStruct.NbPages     = NbOfPages;

	if (HAL_FLASHEx_Erase(&EraseInitStruct, &PageError) != HAL_OK)
  {
    /*
      Error occurred while page erase.
      User can add here some code to deal with this error.
      PageError will contain the faulty page and then to know the code error on this page,
      user can call function 'HAL_FLASH_GetError()'
    */
		printf("Error occurred while page erase.\r\n");

  }

	/* Program the user Flash area word by word
    (area defined by FLASH_USER_START_ADDR and FLASH_USER_END_ADDR) ***********/

	//temp = DATA_32;
	//temp = temp<<32;
	temp  = 0;
	temp |= (gWIZNETINFO.ip[0] <<24) |(gWIZNETINFO.ip[1] <<16)|(gWIZNETINFO.ip[2] <<8)|gWIZNETINFO.ip[3];
  printf("temp : %x\r\n",(gWIZNETINFO.ip[0] <<24) +(gWIZNETINFO.ip[1] <<16)+(gWIZNETINFO.ip[2] <<8)+gWIZNETINFO.ip[3]);
	temp = DATA_32 | (temp<<32);
    if (HAL_FLASH_Program(FLASH_TYPEPROGRAM_DOUBLEWORD, FLASH_USER_START_ADDR, temp) == HAL_OK)
    {
			printf("Saved!\r\n");
    }
   else
    {
      /* Error occurred while writing data in Flash memory.
         User can add here some code to deal with this error */
			printf("Error occurred while writing data in Flash memory\r\n");

    }

		temp  = 0xFFFFFF01C0A816FC;//sn|fw
		//temp |= (gWIZNETINFO.ip[0] <<24) |(gWIZNETINFO.ip[1] <<16)|(gWIZNETINFO.ip[2] <<8)|gWIZNETINFO.ip[3];
		//printf("temp : %x\r\n",(gWIZNETINFO.ip[0] <<24) +(gWIZNETINFO.ip[1] <<16)+(gWIZNETINFO.ip[2] <<8)+gWIZNETINFO.ip[3]);

		if (HAL_FLASH_Program(FLASH_TYPEPROGRAM_DOUBLEWORD, (FLASH_USER_START_ADDR+8), temp) == HAL_OK)
    {
			printf("Saved!\r\n");
    }
   else
    {
      /* Error occurred while writing data in Flash memory.
         User can add here some code to deal with this error */
			printf("Error occurred while writing data in Flash memory\r\n");

    }

		temp  = 0x0808080801020304;//sn|fw
		//temp |= (gWIZNETINFO.ip[0] <<24) |(gWIZNETINFO.ip[1] <<16)|(gWIZNETINFO.ip[2] <<8)|gWIZNETINFO.ip[3];
		//printf("temp : %x\r\n",(gWIZNETINFO.ip[0] <<24) +(gWIZNETINFO.ip[1] <<16)+(gWIZNETINFO.ip[2] <<8)+gWIZNETINFO.ip[3]);

		if (HAL_FLASH_Program(FLASH_TYPEPROGRAM_DOUBLEWORD, (FLASH_USER_START_ADDR+16), temp) == HAL_OK)
    {
			printf("Saved!\r\n");
    }
   else
    {
      /* Error occurred while writing data in Flash memory.
         User can add here some code to deal with this error */
			printf("Error occurred while writing data in Flash memory\r\n");

    }

	/* Lock the Flash to disable the flash control register access (recommended
     to protect the FLASH memory against possible unwanted operation) *********/
  HAL_FLASH_Lock();
}

/**
  * @brief  Gets the page of a given address
  * @param  Addr: Address of the FLASH Memory
  * @retval The page of a given address
  */
static uint32_t GetPage(uint32_t Addr)
{
  uint32_t page = 0;

  if (Addr < (FLASH_BASE + FLASH_BANK_SIZE))
  {
    /* Bank 1 */
    page = (Addr - FLASH_BASE) / FLASH_PAGE_SIZE;
  }
  else
  {
    /* Bank 2 */
    page = (Addr - (FLASH_BASE + FLASH_BANK_SIZE)) / FLASH_PAGE_SIZE;
  }

  return page;
}

/**
  * @brief  Gets the bank of a given address
  * @param  Addr: Address of the FLASH Memory
  * @retval The bank of a given address
  */
static uint32_t GetBank(uint32_t Addr)
{
  return FLASH_BANK_1;
}
/* USER CODE END 4 */

void Error_Handler(void)
{
}

/************************ (C) COPYRIGHT STMicroelectronics *****END OF FILE****/
